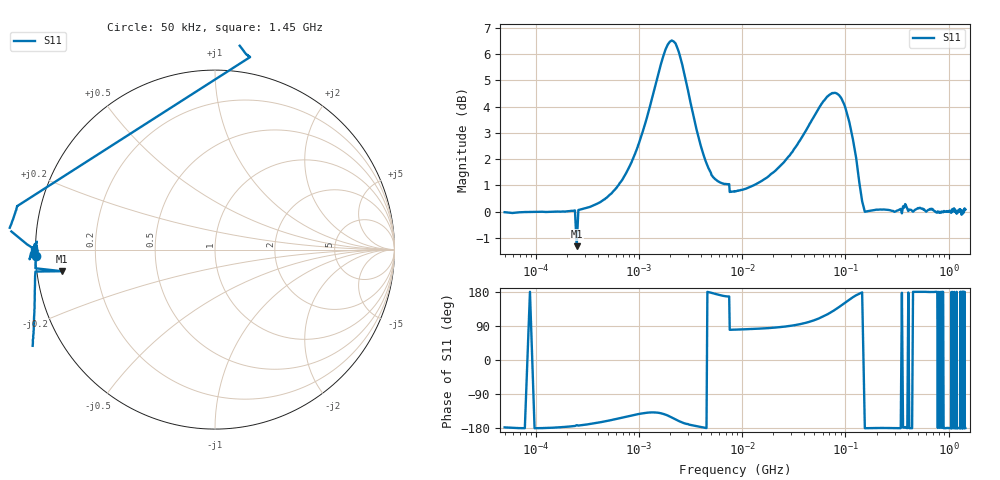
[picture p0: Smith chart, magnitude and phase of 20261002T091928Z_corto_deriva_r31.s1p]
! piloto_deriva / corto_deriva / r31
# HZ S RI R 50
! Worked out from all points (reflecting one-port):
!   501 points, 50 kHz to 1.45 GHz, reference 50 ohm
!   lowest |S11| = -1.3 dB at 249.5 kHz (marker M1), VSWR 13.33, Z = 3.77 - j3.5 ohm
!   phase of S11 starts at -178 deg and turns -2 deg over the sweep
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50000  -0.9976 -0.0377
183000  -1 -0.0521
249500  -0.8519 -0.1205
411000  -1.004 -0.2706
658000  -1.015 -0.5112
1180000  -1.135 -0.976
1630000  -1.472 -1.211
1990000  -1.806 -1.08
2170000  -1.899 -0.9121
2440000  -1.902 -0.6448
3070000  -1.632 -0.2684
4330000  -1.263 -0.0295
7300000  -1.102 0.2408
7750000  0.1942 1.074
8560000  0.1875 1.077
1.9e7  0.1098 1.175
3.16e7  -0.0346 1.313
4.78e7  -0.344 1.459
6.76e7  -0.8592 1.418
7.93e7  -1.14 1.237
9.37e7  -1.354 0.8995
9.82e7  -1.385 0.7845
1e8  -1.39 0.7387
1.18e8  -1.331 0.3393
1.36e8  -1.134 0.1011
1.63e8  -1.002 -0.00304
4.06e8  -1.003 0.0319
1.45e9  -1.01 -0.00499
